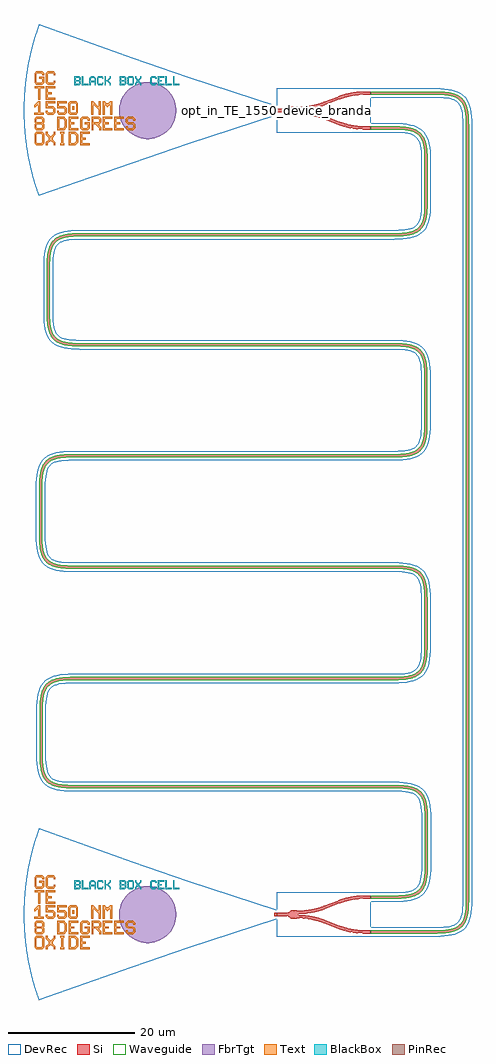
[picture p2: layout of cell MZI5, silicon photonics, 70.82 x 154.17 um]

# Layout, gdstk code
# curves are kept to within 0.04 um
import gdstk
lib = gdstk.Library(unit=1e-6, precision=1e-09)
def R(c, l, rs):  # rectangles x0, y0, x1, y1
    for r in rs: c.add(gdstk.rectangle(r[:2], r[2:], *l))
def P(c, l, *ps):  # polygons
    for p in ps: c.add(gdstk.Polygon(p, *l))
Si = (1, 0)
PinRec = (1, 10)
Waveguide = (1, 99)
Text = (10, 0)
DevRec = (68, 0)
FbrTgt = (81, 0)
BlackBox = (998, 0)

waveguide_3 = lib.new_cell('Waveguide$3')
P(waveguide_3, Si, [(-247.6,60.59),(-247.6,61.09),(-236.87,61.095),(-235.738,61.162),(-234.818,61.319),(-234.204,61.527),(-233.804,61.747),(-233.475,62.017),(-233.204,62.347),(-232.812,63.228),(-232.601,64.455),(-232.548,65.84),(-232.548,188.34),(-232.639,190.069),(-232.893,191.205),(-233.333,192.008),(-233.631,192.306),(-233.995,192.55),(-234.434,192.746),(-235.102,192.925),(-236.092,193.052),(-237.081,193.089),(-247.6,193.09),(-247.6,193.59),(-237.077,193.589),(-235.867,193.535),(-234.849,193.383),(-234.131,193.165),(-233.418,192.773),(-232.947,192.324),(-232.588,191.763),(-232.293,190.944),(-232.143,190.131),(-232.058,188.988),(-232.048,65.84),(-232.103,64.409),(-232.375,62.947),(-232.587,62.418),(-232.865,61.96),(-233.215,61.574),(-233.637,61.26),(-234.13,61.016),(-234.694,60.835),(-235.684,60.664),(-236.86,60.595)])
P(waveguide_3, Waveguide, [(-247.6,60.59),(-247.6,61.09),(-236.87,61.095),(-235.738,61.162),(-234.818,61.319),(-234.204,61.527),(-233.804,61.747),(-233.475,62.017),(-233.204,62.347),(-232.812,63.228),(-232.601,64.455),(-232.548,65.84),(-232.548,188.34),(-232.639,190.069),(-232.893,191.205),(-233.333,192.008),(-233.631,192.306),(-233.995,192.55),(-234.434,192.746),(-235.102,192.925),(-236.092,193.052),(-237.081,193.089),(-247.6,193.09),(-247.6,193.59),(-237.077,193.589),(-235.867,193.535),(-234.849,193.383),(-234.131,193.165),(-233.418,192.773),(-232.947,192.324),(-232.588,191.763),(-232.293,190.944),(-232.143,190.131),(-232.058,188.988),(-232.048,65.84),(-232.103,64.409),(-232.375,62.947),(-232.587,62.418),(-232.865,61.96),(-233.215,61.574),(-233.637,61.26),(-234.13,61.016),(-234.694,60.835),(-235.684,60.664),(-236.86,60.595)])
P(waveguide_3, DevRec, [(-247.6,60.09),(-247.6,61.59),(-236.648,61.601),(-235.553,61.688),(-234.722,61.866),(-234.139,62.126),(-233.922,62.283),(-233.583,62.682),(-233.223,63.647),(-233.09,64.61),(-233.048,65.84),(-233.048,188.34),(-233.146,190.085),(-233.324,190.916),(-233.444,191.236),(-233.741,191.716),(-233.923,191.898),(-234.403,192.195),(-235.554,192.493),(-237.299,192.59),(-247.6,192.59),(-247.6,194.09),(-237.297,194.09),(-235.948,194.044),(-234.789,193.881),(-233.789,193.563),(-232.949,193.038),(-232.601,192.69),(-232.31,192.291),(-231.894,191.368),(-231.66,190.293),(-231.559,189.042),(-231.548,65.84),(-231.594,64.49),(-231.757,63.331),(-231.893,62.813),(-232.309,61.89),(-232.948,61.143),(-233.347,60.852),(-234.27,60.436),(-235.345,60.202),(-236.596,60.101)])
waveguide_3.add(gdstk.FlexPath([(-247.59,193.34),(-247.61,193.34)], 0.5, ends="flush", simple_path=True, layer=1, datatype=10))  # PinRec
waveguide_3.add(gdstk.FlexPath([(-247.59,60.84),(-247.61,60.84)], 0.5, ends="flush", simple_path=True, layer=1, datatype=10))  # PinRec
waveguide_3.add(gdstk.Label('opt1', (-247.6,193.34), layer=1, texttype=10))
waveguide_3.add(gdstk.Label('opt2', (-247.6,60.84), layer=1, texttype=10))
waveguide_3.add(gdstk.Label('Lumerical_INTERCONNECT_library=Design kits/EBeam', (-247.6,193.24), layer=68, texttype=0))
waveguide_3.add(gdstk.Label('Component=ebeam_wg_integral_1550', (-247.6,193.44), layer=68, texttype=0))
waveguide_3.add(gdstk.Label('cellName=Waveguide', (-247.6,193.54), layer=68, texttype=0))
waveguide_3.add(gdstk.Label('Spice_param:wg_length=0.000160001 wg_width=5e-07 points="[[-247.6,193.34],[-232.298,193.34],[-232.298,60.84],[-247.6,60.84]]" radius=5e-06', (-247.6,193.34), layer=68, texttype=0))
waveguide_3.add(gdstk.Label('Length=160.001 (microns)', (-247.6,192.74), layer=68, texttype=0))
waveguide_3.add(gdstk.Label('waveguide_type=Strip TE 1550 nm, w=500 nm', (-247.6,193.14), layer=68, texttype=0))

waveguide_18 = lib.new_cell('Waveguide$18')
P(waveguide_18, Si, [(-167.6,66.09),(-167.6,66.59),(-163.158,66.6),(-162.061,66.681),(-161.31,66.819),(-160.696,67.027),(-160.122,67.375),(-159.759,67.758),(-159.476,68.247),(-159.177,69.296),(-159.049,70.709),(-159.079,79.997),(-159.236,81.132),(-159.477,81.884),(-159.825,82.458),(-160.39,82.943),(-160.926,83.196),(-161.594,83.375),(-163.363,83.536),(-214.63,83.54),(-216.062,83.596),(-217.234,83.785),(-218.174,84.143),(-218.897,84.708),(-219.4,85.493),(-219.735,86.66),(-219.84,87.548),(-219.88,88.79),(-219.878,96.093),(-219.761,97.834),(-219.595,98.621),(-219.34,99.293),(-219.062,99.751),(-218.613,100.222),(-218.052,100.581),(-217.38,100.836),(-216.593,101.002),(-215.679,101.093),(-163.85,101.12),(-162.29,101.192),(-161.108,101.424),(-160.267,101.84),(-159.953,102.124),(-159.697,102.47),(-159.328,103.391),(-159.138,104.664),(-159.139,114.667),(-159.238,115.505),(-159.404,116.202),(-159.641,116.764),(-159.885,117.128),(-160.357,117.554),(-161.109,117.907),(-162.122,118.12),(-163.423,118.206),(-214.71,118.21),(-216.142,118.266),(-217.314,118.455),(-218.254,118.813),(-218.977,119.378),(-219.48,120.163),(-219.815,121.33),(-219.959,123.239),(-219.96,131.06),(-219.904,132.492),(-219.784,133.353),(-219.585,134.093),(-219.29,134.721),(-218.887,135.237),(-218.37,135.641),(-217.742,135.936),(-217.002,136.135),(-215.952,136.27),(-163.86,136.31),(-162.3,136.382),(-161.118,136.614),(-160.366,136.967),(-160.037,137.237),(-159.766,137.567),(-159.374,138.448),(-159.163,139.675),(-159.11,141.06),(-159.12,149.222),(-159.276,150.787),(-159.598,151.791),(-159.83,152.173),(-160.114,152.487),(-160.767,152.904),(-161.816,153.203),(-163.229,153.331),(-213.502,153.34),(-214.934,153.396),(-216.106,153.585),(-217.046,153.943),(-217.769,154.508),(-218.272,155.293),(-218.577,156.298),(-218.697,157.159),(-218.748,158.153),(-218.742,166.608),(-218.657,167.751),(-218.507,168.564),(-218.212,169.383),(-217.853,169.944),(-217.382,170.393),(-216.669,170.785),(-215.951,171.003),(-214.933,171.155),(-213.502,171.21),(-163.83,171.21),(-162.101,171.301),(-161.488,171.406),(-160.848,171.6),(-160.162,171.995),(-159.864,172.293),(-159.62,172.657),(-159.308,173.481),(-159.133,174.575),(-159.081,175.743),(-159.09,183.472),(-159.218,184.885),(-159.517,185.934),(-159.865,186.508),(-160.337,186.934),(-160.966,187.246),(-161.634,187.425),(-163.199,187.581),(-167.6,187.59),(-167.6,188.09),(-163.183,188.081),(-162.04,187.996),(-161.227,187.846),(-160.533,187.61),(-159.95,187.273),(-159.479,186.824),(-159.12,186.263),(-158.865,185.591),(-158.699,184.804),(-158.58,182.84),(-158.581,175.739),(-158.698,173.997),(-158.954,172.928),(-159.32,172.189),(-159.949,171.528),(-160.662,171.136),(-161.226,170.955),(-162.039,170.805),(-163.83,170.71),(-214.708,170.672),(-215.698,170.545),(-216.366,170.366),(-216.995,170.054),(-217.467,169.628),(-217.815,169.054),(-218.023,168.44),(-218.161,167.689),(-218.242,166.592),(-218.251,158.373),(-218.115,156.546),(-217.863,155.609),(-217.468,154.923),(-217.17,154.625),(-216.806,154.381),(-215.982,154.069),(-214.888,153.894),(-213.502,153.84),(-163.213,153.831),(-161.73,153.695),(-160.563,153.36),(-160.089,153.1),(-159.683,152.767),(-159.15,152.013),(-158.786,150.883),(-158.62,149.238),(-158.611,140.839),(-158.683,139.447),(-158.937,138.167),(-159.35,137.289),(-159.979,136.628),(-160.437,136.35),(-160.966,136.138),(-162.246,135.884),(-163.86,135.81),(-215.916,135.772),(-216.754,135.673),(-217.451,135.507),(-218.013,135.27),(-218.456,134.957),(-218.803,134.554),(-219.115,133.925),(-219.294,133.257),(-219.406,132.446),(-219.46,131.06),(-219.459,123.243),(-219.323,121.416),(-219.071,120.479),(-218.676,119.793),(-218.378,119.495),(-218.014,119.251),(-217.19,118.939),(-216.096,118.764),(-214.71,118.71),(-163.203,118.701),(-161.887,118.592),(-160.818,118.336),(-159.97,117.893),(-159.418,117.341),(-159.081,116.758),(-158.885,116.211),(-158.719,115.424),(-158.628,114.51),(-158.6,105.87),(-158.655,104.439),(-158.884,103.12),(-159.08,102.573),(-159.34,102.099),(-159.969,101.438),(-160.427,101.16),(-160.956,100.948),(-162.236,100.694),(-163.85,100.62),(-215.651,100.593),(-216.519,100.508),(-217.242,100.356),(-217.83,100.133),(-218.297,99.836),(-218.66,99.453),(-218.943,98.964),(-219.151,98.35),(-219.267,97.76),(-219.38,95.87),(-219.379,88.573),(-219.268,86.901),(-219.036,85.926),(-218.596,85.123),(-218.298,84.825),(-217.934,84.581),(-217.11,84.269),(-216.016,84.094),(-214.63,84.04),(-163.353,84.036),(-162.177,83.967),(-161.341,83.833),(-160.623,83.615),(-160.13,83.371),(-159.524,82.873),(-159.021,82.088),(-158.748,81.24),(-158.581,80.033),(-158.549,70.693),(-158.685,69.21),(-159.02,68.043),(-159.357,67.46),(-159.909,66.908),(-160.492,66.571),(-161.34,66.298),(-162.176,66.164),(-163.142,66.1)])
P(waveguide_18, Waveguide, [(-167.6,66.09),(-167.6,66.59),(-163.158,66.6),(-162.061,66.681),(-161.31,66.819),(-160.696,67.027),(-160.122,67.375),(-159.759,67.758),(-159.476,68.247),(-159.177,69.296),(-159.049,70.709),(-159.079,79.997),(-159.236,81.132),(-159.477,81.884),(-159.825,82.458),(-160.39,82.943),(-160.926,83.196),(-161.594,83.375),(-163.363,83.536),(-214.63,83.54),(-216.062,83.596),(-217.234,83.785),(-218.174,84.143),(-218.897,84.708),(-219.4,85.493),(-219.735,86.66),(-219.84,87.548),(-219.88,88.79),(-219.878,96.093),(-219.761,97.834),(-219.595,98.621),(-219.34,99.293),(-219.062,99.751),(-218.613,100.222),(-218.052,100.581),(-217.38,100.836),(-216.593,101.002),(-215.679,101.093),(-163.85,101.12),(-162.29,101.192),(-161.108,101.424),(-160.267,101.84),(-159.953,102.124),(-159.697,102.47),(-159.328,103.391),(-159.138,104.664),(-159.139,114.667),(-159.238,115.505),(-159.404,116.202),(-159.641,116.764),(-159.885,117.128),(-160.357,117.554),(-161.109,117.907),(-162.122,118.12),(-163.423,118.206),(-214.71,118.21),(-216.142,118.266),(-217.314,118.455),(-218.254,118.813),(-218.977,119.378),(-219.48,120.163),(-219.815,121.33),(-219.959,123.239),(-219.96,131.06),(-219.904,132.492),(-219.784,133.353),(-219.585,134.093),(-219.29,134.721),(-218.887,135.237),(-218.37,135.641),(-217.742,135.936),(-217.002,136.135),(-215.952,136.27),(-163.86,136.31),(-162.3,136.382),(-161.118,136.614),(-160.366,136.967),(-160.037,137.237),(-159.766,137.567),(-159.374,138.448),(-159.163,139.675),(-159.11,141.06),(-159.12,149.222),(-159.276,150.787),(-159.598,151.791),(-159.83,152.173),(-160.114,152.487),(-160.767,152.904),(-161.816,153.203),(-163.229,153.331),(-213.502,153.34),(-214.934,153.396),(-216.106,153.585),(-217.046,153.943),(-217.769,154.508),(-218.272,155.293),(-218.577,156.298),(-218.697,157.159),(-218.748,158.153),(-218.742,166.608),(-218.657,167.751),(-218.507,168.564),(-218.212,169.383),(-217.853,169.944),(-217.382,170.393),(-216.669,170.785),(-215.951,171.003),(-214.933,171.155),(-213.502,171.21),(-163.83,171.21),(-162.101,171.301),(-161.488,171.406),(-160.848,171.6),(-160.162,171.995),(-159.864,172.293),(-159.62,172.657),(-159.308,173.481),(-159.133,174.575),(-159.081,175.743),(-159.09,183.472),(-159.218,184.885),(-159.517,185.934),(-159.865,186.508),(-160.337,186.934),(-160.966,187.246),(-161.634,187.425),(-163.199,187.581),(-167.6,187.59),(-167.6,188.09),(-163.183,188.081),(-162.04,187.996),(-161.227,187.846),(-160.533,187.61),(-159.95,187.273),(-159.479,186.824),(-159.12,186.263),(-158.865,185.591),(-158.699,184.804),(-158.58,182.84),(-158.581,175.739),(-158.698,173.997),(-158.954,172.928),(-159.32,172.189),(-159.949,171.528),(-160.662,171.136),(-161.226,170.955),(-162.039,170.805),(-163.83,170.71),(-214.708,170.672),(-215.698,170.545),(-216.366,170.366),(-216.995,170.054),(-217.467,169.628),(-217.815,169.054),(-218.023,168.44),(-218.161,167.689),(-218.242,166.592),(-218.251,158.373),(-218.115,156.546),(-217.863,155.609),(-217.468,154.923),(-217.17,154.625),(-216.806,154.381),(-215.982,154.069),(-214.888,153.894),(-213.502,153.84),(-163.213,153.831),(-161.73,153.695),(-160.563,153.36),(-160.089,153.1),(-159.683,152.767),(-159.15,152.013),(-158.786,150.883),(-158.62,149.238),(-158.611,140.839),(-158.683,139.447),(-158.937,138.167),(-159.35,137.289),(-159.979,136.628),(-160.437,136.35),(-160.966,136.138),(-162.246,135.884),(-163.86,135.81),(-215.916,135.772),(-216.754,135.673),(-217.451,135.507),(-218.013,135.27),(-218.456,134.957),(-218.803,134.554),(-219.115,133.925),(-219.294,133.257),(-219.406,132.446),(-219.46,131.06),(-219.459,123.243),(-219.323,121.416),(-219.071,120.479),(-218.676,119.793),(-218.378,119.495),(-218.014,119.251),(-217.19,118.939),(-216.096,118.764),(-214.71,118.71),(-163.203,118.701),(-161.887,118.592),(-160.818,118.336),(-159.97,117.893),(-159.418,117.341),(-159.081,116.758),(-158.885,116.211),(-158.719,115.424),(-158.628,114.51),(-158.6,105.87),(-158.655,104.439),(-158.884,103.12),(-159.08,102.573),(-159.34,102.099),(-159.969,101.438),(-160.427,101.16),(-160.956,100.948),(-162.236,100.694),(-163.85,100.62),(-215.651,100.593),(-216.519,100.508),(-217.242,100.356),(-217.83,100.133),(-218.297,99.836),(-218.66,99.453),(-218.943,98.964),(-219.151,98.35),(-219.267,97.76),(-219.38,95.87),(-219.379,88.573),(-219.268,86.901),(-219.036,85.926),(-218.596,85.123),(-218.298,84.825),(-217.934,84.581),(-217.11,84.269),(-216.016,84.094),(-214.63,84.04),(-163.353,84.036),(-162.177,83.967),(-161.341,83.833),(-160.623,83.615),(-160.13,83.371),(-159.524,82.873),(-159.021,82.088),(-158.748,81.24),(-158.581,80.033),(-158.549,70.693),(-158.685,69.21),(-159.02,68.043),(-159.357,67.46),(-159.909,66.908),(-160.492,66.571),(-161.34,66.298),(-162.176,66.164),(-163.142,66.1)])
P(waveguide_18, DevRec, [(-167.6,65.59),(-167.6,67.09),(-163.14,67.101),(-161.596,67.266),(-160.631,67.626),(-160.232,67.965),(-159.935,68.445),(-159.637,69.596),(-159.55,70.691),(-159.551,79.44),(-159.638,80.535),(-159.816,81.366),(-160.076,81.949),(-160.233,82.166),(-160.632,82.505),(-161.215,82.765),(-162.046,82.943),(-163.79,83.04),(-214.63,83.04),(-215.981,83.087),(-217.14,83.25),(-218.14,83.568),(-218.98,84.093),(-219.619,84.84),(-219.853,85.281),(-220.171,86.281),(-220.334,87.44),(-220.38,88.789),(-220.38,95.871),(-220.268,97.823),(-220.034,98.898),(-219.852,99.38),(-219.327,100.22),(-218.979,100.568),(-218.58,100.859),(-217.657,101.275),(-217.139,101.411),(-215.98,101.574),(-214.63,101.62),(-163.85,101.62),(-162.105,101.718),(-161.274,101.896),(-160.691,102.156),(-160.474,102.313),(-160.135,102.712),(-159.775,103.677),(-159.642,104.64),(-159.611,114.11),(-159.776,115.654),(-159.996,116.356),(-160.293,116.836),(-160.692,117.175),(-161.275,117.435),(-162.106,117.613),(-163.201,117.7),(-214.71,117.71),(-216.061,117.757),(-217.22,117.92),(-218.22,118.238),(-219.06,118.763),(-219.699,119.51),(-219.933,119.951),(-220.251,120.951),(-220.414,122.11),(-220.46,123.459),(-220.413,132.411),(-220.25,133.57),(-220.114,134.088),(-219.698,135.011),(-219.407,135.41),(-219.059,135.758),(-218.219,136.283),(-217.219,136.601),(-216.06,136.764),(-214.71,136.81),(-163.86,136.81),(-162.115,136.908),(-161.284,137.086),(-160.701,137.346),(-160.484,137.503),(-160.145,137.902),(-159.785,138.867),(-159.652,139.83),(-159.621,149.24),(-159.708,150.335),(-160.006,151.486),(-160.303,151.966),(-160.485,152.148),(-160.965,152.445),(-162.116,152.743),(-163.211,152.83),(-213.502,152.84),(-214.853,152.887),(-216.012,153.05),(-217.012,153.368),(-217.852,153.893),(-218.491,154.64),(-218.725,155.081),(-219.043,156.081),(-219.242,157.889),(-219.241,166.662),(-219.14,167.913),(-218.906,168.988),(-218.49,169.911),(-218.199,170.31),(-217.851,170.658),(-217.011,171.183),(-216.011,171.501),(-214.852,171.664),(-213.502,171.71),(-163.83,171.71),(-162.085,171.808),(-160.934,172.106),(-160.454,172.403),(-160.272,172.585),(-159.975,173.065),(-159.755,173.767),(-159.622,174.73),(-159.591,183.49),(-159.678,184.585),(-159.976,185.736),(-160.273,186.216),(-160.672,186.555),(-161.637,186.915),(-163.181,187.08),(-167.6,187.09),(-167.6,188.59),(-163.129,188.58),(-161.878,188.479),(-160.803,188.245),(-159.88,187.829),(-159.481,187.538),(-159.133,187.19),(-158.608,186.35),(-158.426,185.868),(-158.192,184.793),(-158.08,182.841),(-158.08,175.959),(-158.191,174.008),(-158.425,172.933),(-158.841,172.01),(-159.48,171.263),(-160.32,170.738),(-160.802,170.556),(-161.877,170.322),(-163.83,170.21),(-213.502,170.21),(-214.732,170.168),(-216.077,169.935),(-216.66,169.675),(-217.059,169.336),(-217.356,168.856),(-217.576,168.154),(-217.741,166.61),(-217.752,158.591),(-217.655,156.846),(-217.477,156.015),(-217.357,155.695),(-217.06,155.215),(-216.878,155.033),(-216.398,154.736),(-215.696,154.516),(-214.733,154.383),(-213.502,154.34),(-163.159,154.33),(-161.351,154.131),(-160.351,153.813),(-159.511,153.288),(-159.163,152.94),(-158.638,152.1),(-158.32,151.1),(-158.121,149.292),(-158.11,141.059),(-158.221,139.108),(-158.455,138.033),(-158.637,137.551),(-159.162,136.711),(-159.909,136.072),(-160.832,135.656),(-161.907,135.422),(-163.86,135.31),(-214.71,135.31),(-215.94,135.268),(-217.285,135.035),(-217.605,134.915),(-218.085,134.618),(-218.424,134.219),(-218.684,133.636),(-218.917,132.291),(-218.96,123.461),(-218.863,121.716),(-218.685,120.885),(-218.565,120.565),(-218.268,120.085),(-218.086,119.903),(-217.606,119.606),(-216.904,119.386),(-215.941,119.253),(-214.71,119.21),(-163.149,119.2),(-161.898,119.099),(-160.823,118.865),(-159.9,118.449),(-159.153,117.81),(-158.862,117.411),(-158.446,116.488),(-158.31,115.97),(-158.147,114.811),(-158.1,113.461),(-158.146,104.52),(-158.309,103.361),(-158.445,102.843),(-158.861,101.92),(-159.5,101.173),(-159.899,100.882),(-160.822,100.466),(-161.897,100.232),(-163.85,100.12),(-215.279,100.11),(-216.823,99.945),(-217.788,99.585),(-218.187,99.246),(-218.484,98.766),(-218.782,97.615),(-218.88,95.869),(-218.88,88.791),(-218.783,87.046),(-218.605,86.215),(-218.485,85.895),(-218.188,85.415),(-218.006,85.233),(-217.526,84.936),(-216.824,84.716),(-215.861,84.583),(-214.63,84.54),(-163.089,84.53),(-161.281,84.331),(-160.281,84.013),(-159.84,83.779),(-159.093,83.14),(-158.568,82.3),(-158.25,81.3),(-158.087,80.141),(-158.04,78.791),(-158.05,70.639),(-158.249,68.831),(-158.567,67.831),(-159.092,66.991),(-159.44,66.643),(-160.28,66.118),(-161.28,65.8),(-163.088,65.601)])
waveguide_18.add(gdstk.FlexPath([(-167.59,187.84),(-167.61,187.84)], 0.5, ends="flush", simple_path=True, layer=1, datatype=10))  # PinRec
waveguide_18.add(gdstk.FlexPath([(-167.59,66.34),(-167.61,66.34)], 0.5, ends="flush", simple_path=True, layer=1, datatype=10))  # PinRec
waveguide_18.add(gdstk.Label('opt1', (-167.6,187.84), layer=1, texttype=10))
waveguide_18.add(gdstk.Label('opt2', (-167.6,66.34), layer=1, texttype=10))
waveguide_18.add(gdstk.Label('Lumerical_INTERCONNECT_library=Design kits/EBeam', (-167.6,187.74), layer=68, texttype=0))
waveguide_18.add(gdstk.Label('Component=ebeam_wg_integral_1550', (-167.6,187.94), layer=68, texttype=0))
waveguide_18.add(gdstk.Label('cellName=Waveguide', (-167.6,188.04), layer=68, texttype=0))
waveguide_18.add(gdstk.Label('Length=480.001 (microns)', (-167.6,187.24), layer=68, texttype=0))
waveguide_18.add(gdstk.Label('waveguide_type=Strip TE 1550 nm, w=500 nm', (-167.6,187.64), layer=68, texttype=0))

ebeam_y_1550 = lib.new_cell('ebeam_y_1550')
R(ebeam_y_1550, Si, [(6.5,-3,7.4,-2.5), (-7.4,-0.25,-6,0.25), (6.5,2.5,7.4,3)])
P(ebeam_y_1550, Si, [(6.458,-3),(6.237,-2.997),(6.237,-2.497),(6.5,-2.5),(6.5,-3)],
  [(5.033,-2.908),(3.59,-2.634),(2.265,-2.21),(2.445,-1.744),(3.731,-2.154),(5.033,-2.404)],
  [(6.233,-2.997),(5.033,-2.908),(5.033,-2.404),(6.237,-2.497)],
  [(2.265,-2.21),(0.055,-1.356),(0.235,-0.89),(2.445,-1.744)],
  [(-0.762,-1.076),(-2.334,-0.724),(-4,-0.6),(-4,-0.1),(-2.381,-0.212),(-0.762,-0.555)],
  [(0.055,-1.356),(-0.762,-1.076),(-0.762,-0.555),(0.235,-0.89)],
  [(6.237,2.497),(6.237,2.997),(6.5,3),(6.5,2.5)],
  [(2.445,1.744),(2.267,2.211),(3.59,2.634),(5.033,2.908),(5.033,2.404),(3.731,2.154)],
  [(5.033,2.404),(5.033,2.908),(6.237,2.997),(6.237,2.497)],
  [(0.235,0.89),(0.055,1.356),(2.265,2.21),(2.445,1.744)],
  [(-4,0.1),(-4,0.6),(-2.334,0.724),(-0.762,1.076),(-0.762,0.555),(-2.381,0.212)],
  [(-0.762,0.555),(-0.762,1.076),(0.055,1.356),(0.235,0.89)],
  [(-5.122,-0.662),(-5.442,-0.374),(-5.808,-0.255),(-6,-0.25),(-6,0.25),(-5.817,0.253),(-5.442,0.374),(-5.122,0.662)],
  [(-4.957,-0.703),(-5.122,-0.662),(-5.122,0.662),(-4.538,0.703),(-4,0.6),(-4,-0.6),(-4.509,-0.701)])
R(ebeam_y_1550, DevRec, [(-7.4,-3.5,7.4,3.5)])
ebeam_y_1550.add(gdstk.FlexPath([(-7.35,0),(-7.45,0)], 0.5, ends="flush", simple_path=True, layer=1, datatype=10))  # PinRec
ebeam_y_1550.add(gdstk.FlexPath([(7.35,2.75),(7.45,2.75)], 0.5, ends="flush", simple_path=True, layer=1, datatype=10))  # PinRec
ebeam_y_1550.add(gdstk.FlexPath([(7.35,-2.75),(7.45,-2.75)], 0.5, ends="flush", simple_path=True, layer=1, datatype=10))  # PinRec
ebeam_y_1550.add(gdstk.Label('opt2', (7.4,2.75), layer=1, texttype=10))
ebeam_y_1550.add(gdstk.Label('opt3', (7.4,-2.75), layer=1, texttype=10))
ebeam_y_1550.add(gdstk.Label('opt1', (-7.4,0), layer=1, texttype=10))
ebeam_y_1550.add(gdstk.Label('Component=ebeam_y_1550', (-6,1.5), layer=68, texttype=0))
ebeam_y_1550.add(gdstk.Label('Lumerical_INTERCONNECT_library=Design kits/ebeam', (-6.86,-2.19), layer=68, texttype=0))
ebeam_y_1550.add(gdstk.Label('Ref: Y Zhang, Opt. Express, 21/1, 2013', (-7.5,-1), layer=10, texttype=0))

text = lib.new_cell('TEXT')
P(text, BlackBox, [(0,0),(0,1.4),(0.8,1.4),(1,1.2),(0.2,1.2),(0.2,0.8),(0.7,0.8),(0.8,0.9),(0.8,1.1),(0.7,1.2),(1,1.2),(1,0.8),(0.9,0.7),(1,0.6),(0.2,0.6),(0.2,0.2),(0.7,0.2),(0.8,0.3),(0.8,0.5),(0.7,0.6),(1,0.6),(1,0.2),(0.8,0)],
  [(1.2,0),(1.2,1.4),(1.4,1.4),(1.4,0.2),(2.2,0.2),(2.2,0)],
  [(2.4,0),(2.4,1.1),(2.7,1.4),(3.1,1.4),(3.3,1.2),(2.8,1.2),(2.6,1),(2.6,0.7),(3.2,0.7),(3.2,1),(3,1.2),(3.3,1.2),(3.4,1.1),(3.4,0),(3.2,0),(3.2,0.5),(2.6,0.5),(2.6,0)],
  [(3.8,0),(3.6,0.2),(3.6,1.2),(3.8,1.4),(4.4,1.4),(4.6,1.2),(4.6,1),(4.4,1),(4.4,1.1),(4.3,1.2),(3.9,1.2),(3.8,1.1),(3.8,0.3),(3.9,0.2),(4.3,0.2),(4.4,0.3),(4.4,0.4),(4.6,0.4),(4.6,0.2),(4.4,0)],
  [(4.8,0),(4.8,1.4),(5,1.4),(5,0.8),(5.2,0.8),(5.6,1.2),(5.6,1.4),(5.8,1.4),(5.8,1.1),(5.4,0.7),(5.8,0.3),(5.8,0),(5.6,0),(5.6,0.2),(5.2,0.6),(5,0.6),(5,0)],
  [(7.2,0),(7.2,1.4),(8,1.4),(8.2,1.2),(7.4,1.2),(7.4,0.8),(7.9,0.8),(8,0.9),(8,1.1),(7.9,1.2),(8.2,1.2),(8.2,0.8),(8.1,0.7),(8.2,0.6),(7.4,0.6),(7.4,0.2),(7.9,0.2),(8,0.3),(8,0.5),(7.9,0.6),(8.2,0.6),(8.2,0.2),(8,0)],
  [(8.6,0),(8.4,0.2),(8.4,1.2),(8.6,1.4),(9.2,1.4),(9.4,1.2),(9.4,0.7),(9.2,0.7),(9.2,1.1),(9.1,1.2),(8.7,1.2),(8.6,1.1),(8.6,0.3),(8.7,0.2),(9.1,0.2),(9.2,0.3),(9.2,0.7),(9.4,0.7),(9.4,0.2),(9.2,0)],
  [(9.6,0),(9.6,0.3),(9.9,0.6),(9.9,0.8),(9.6,1.1),(9.6,1.4),(9.8,1.4),(9.8,1.2),(10.1,0.9),(10.4,1.2),(10.4,1.4),(10.6,1.4),(10.6,1.1),(10.3,0.8),(10.3,0.6),(10.6,0.3),(10.6,0),(10.4,0),(10.4,0.2),(10.1,0.5),(9.8,0.2),(9.8,0)],
  [(12.2,0),(12,0.2),(12,1.2),(12.2,1.4),(12.8,1.4),(13,1.2),(13,1),(12.8,1),(12.8,1.1),(12.7,1.2),(12.3,1.2),(12.2,1.1),(12.2,0.3),(12.3,0.2),(12.7,0.2),(12.8,0.3),(12.8,0.4),(13,0.4),(13,0.2),(12.8,0)],
  [(13.2,0),(13.2,1.4),(14.2,1.4),(14.2,1.2),(13.4,1.2),(13.4,0.8),(13.8,0.8),(13.8,0.6),(13.4,0.6),(13.4,0.2),(14.2,0.2),(14.2,0)],
  [(14.4,0),(14.4,1.4),(14.6,1.4),(14.6,0.2),(15.4,0.2),(15.4,0)],
  [(15.6,0),(15.6,1.4),(15.8,1.4),(15.8,0.2),(16.6,0.2),(16.6,0)])

gc_te_1550_8degoxide_bb = lib.new_cell('GC_TE_1550_8degOxide_BB')
R(gc_te_1550_8degoxide_bb, Si, [(-0.4,-0.25,0,0.25)])
R(gc_te_1550_8degoxide_bb, Text, [(-32.313,0.092,-32.013,0.692)])
P(gc_te_1550_8degoxide_bb, Text, [(-37.67,1.71),(-37.67,3.51),(-38.27,3.51),(-38.27,3.81),(-36.77,3.81),(-36.77,3.51),(-37.37,3.51),(-37.37,1.71)],
  [(-37.97,-5.49),(-38.27,-5.19),(-38.27,-3.69),(-37.97,-3.39),(-37.07,-3.39),(-36.77,-3.69),(-36.77,-4.44),(-37.07,-4.44),(-37.07,-3.84),(-37.22,-3.69),(-37.82,-3.69),(-37.97,-3.84),(-37.97,-5.04),(-37.82,-5.19),(-37.22,-5.19),(-37.07,-5.04),(-37.07,-4.44),(-36.77,-4.44),(-36.77,-5.19),(-37.07,-5.49)],
  [(-31.07,-5.49),(-31.07,-3.39),(-29.57,-3.39),(-29.57,-3.69),(-30.77,-3.69),(-30.77,-4.29),(-30.17,-4.29),(-30.17,-4.59),(-30.77,-4.59),(-30.77,-5.19),(-29.57,-5.19),(-29.57,-5.49)],
  [(-32.87,-3.09),(-32.87,-0.99),(-31.37,-0.99),(-31.37,-1.29),(-32.57,-1.29),(-32.57,-1.89),(-31.97,-1.89),(-31.97,-2.19),(-32.57,-2.19),(-32.57,-2.79),(-31.37,-2.79),(-31.37,-3.09)],
  [(-27.47,-3.09),(-27.47,-0.99),(-25.97,-0.99),(-25.97,-1.29),(-27.17,-1.29),(-27.17,-1.89),(-26.57,-1.89),(-26.57,-2.19),(-27.17,-2.19),(-27.17,-2.79),(-25.97,-2.79),(-25.97,-3.09)],
  [(-25.67,-3.09),(-25.67,-0.99),(-24.17,-0.99),(-24.17,-1.29),(-25.37,-1.29),(-25.37,-1.89),(-24.77,-1.89),(-24.77,-2.19),(-25.37,-2.19),(-25.37,-2.79),(-24.17,-2.79),(-24.17,-3.09)],
  [(-36.47,1.71),(-36.47,3.81),(-34.97,3.81),(-34.97,3.51),(-36.17,3.51),(-36.17,2.91),(-35.57,2.91),(-35.57,2.61),(-36.17,2.61),(-36.17,2.01),(-34.97,2.01),(-34.97,1.71)],
  [(-29.313,-0.658),(-29.313,1.442),(-29.013,1.442),(-28.263,0.692),(-28.113,0.692),(-28.113,1.442),(-27.813,1.442),(-27.813,-0.658),(-28.113,-0.658),(-28.113,0.092),(-28.863,0.842),(-29.013,0.842),(-29.013,-0.658)],
  [(-34.22,-5.49),(-34.22,-5.19),(-34.07,-5.19),(-34.07,-3.69),(-34.22,-3.69),(-34.22,-3.39),(-33.62,-3.39),(-33.62,-3.69),(-33.77,-3.69),(-33.77,-5.19),(-33.62,-5.19),(-33.62,-5.49)],
  [(-36.17,4.11),(-36.47,4.41),(-36.47,5.91),(-36.17,6.21),(-35.27,6.21),(-34.97,5.91),(-34.97,5.61),(-35.27,5.61),(-35.27,5.76),(-35.42,5.91),(-36.02,5.91),(-36.17,5.76),(-36.17,4.56),(-36.02,4.41),(-35.42,4.41),(-35.27,4.56),(-35.27,4.71),(-34.97,4.71),(-34.97,4.41),(-35.27,4.11)],
  [(-27.513,-0.658),(-27.513,1.442),(-27.213,1.442),(-26.913,1.142),(-26.613,1.142),(-26.313,1.442),(-26.013,1.442),(-26.013,-0.658),(-26.313,-0.658),(-26.313,0.842),(-26.463,0.842),(-26.763,0.542),(-27.063,0.842),(-27.213,0.842),(-27.213,-0.658)],
  [(-32.613,-0.658),(-32.913,-0.358),(-32.913,1.142),(-32.613,1.442),(-31.713,1.442),(-31.413,1.142),(-32.463,1.142),(-32.613,0.992),(-32.613,-0.208),(-32.463,-0.358),(-31.863,-0.358),(-31.713,-0.208),(-31.713,0.992),(-31.863,1.142),(-31.413,1.142),(-31.413,-0.358),(-31.713,-0.658)],
  [(-32.87,-5.49),(-32.87,-3.39),(-31.82,-3.39),(-31.52,-3.69),(-32.57,-3.69),(-32.57,-5.19),(-31.97,-5.19),(-31.67,-4.89),(-31.67,-3.99),(-31.97,-3.69),(-31.52,-3.69),(-31.37,-3.84),(-31.37,-5.04),(-31.82,-5.49)],
  [(-34.67,-3.09),(-34.67,-0.99),(-33.62,-0.99),(-33.32,-1.29),(-34.37,-1.29),(-34.37,-2.79),(-33.77,-2.79),(-33.47,-2.49),(-33.47,-1.59),(-33.77,-1.29),(-33.32,-1.29),(-33.17,-1.44),(-33.17,-2.64),(-33.62,-3.09)],
  [(-23.57,-3.09),(-23.87,-2.79),(-23.87,-2.49),(-23.57,-2.49),(-23.57,-2.64),(-23.42,-2.79),(-22.82,-2.79),(-22.67,-2.64),(-22.67,-2.34),(-22.82,-2.19),(-23.57,-2.19),(-23.87,-1.89),(-23.87,-1.29),(-23.57,-0.99),(-22.67,-0.99),(-22.37,-1.29),(-22.37,-1.59),(-22.67,-1.59),(-22.67,-1.44),(-22.82,-1.29),(-23.42,-1.29),(-23.57,-1.44),(-23.57,-1.74),(-23.42,-1.89),(-22.67,-1.89),(-22.37,-2.19),(-22.37,-2.79),(-22.67,-3.09)],
  [(-36.213,-0.658),(-36.513,-0.358),(-36.513,-0.058),(-36.213,-0.058),(-36.213,-0.208),(-36.063,-0.358),(-35.463,-0.358),(-35.313,-0.208),(-35.313,0.242),(-35.463,0.392),(-36.513,0.392),(-36.513,1.442),(-35.013,1.442),(-35.013,1.142),(-36.213,1.142),(-36.213,0.692),(-35.313,0.692),(-35.013,0.392),(-35.013,-0.358),(-35.313,-0.658)],
  [(-34.413,-0.658),(-34.713,-0.358),(-34.713,-0.058),(-34.413,-0.058),(-34.413,-0.208),(-34.263,-0.358),(-33.663,-0.358),(-33.513,-0.208),(-33.513,0.242),(-33.663,0.392),(-34.713,0.392),(-34.713,1.442),(-33.213,1.442),(-33.213,1.142),(-34.413,1.142),(-34.413,0.692),(-33.513,0.692),(-33.213,0.392),(-33.213,-0.358),(-33.513,-0.658)],
  [(-37.97,-3.09),(-38.27,-2.79),(-38.27,-2.19),(-38.12,-2.04),(-38.27,-1.89),(-38.27,-1.29),(-37.97,-0.99),(-37.07,-0.99),(-36.77,-1.29),(-37.82,-1.29),(-37.97,-1.44),(-37.97,-1.74),(-37.82,-1.89),(-37.22,-1.89),(-37.07,-1.74),(-37.07,-1.44),(-37.22,-1.29),(-36.77,-1.29),(-36.77,-1.89),(-36.92,-2.04),(-36.77,-2.19),(-37.82,-2.19),(-37.97,-2.34),(-37.97,-2.64),(-37.82,-2.79),(-37.22,-2.79),(-37.07,-2.64),(-37.07,-2.34),(-37.22,-2.19),(-36.77,-2.19),(-36.77,-2.79),(-37.07,-3.09)],
  [(-38.313,-0.658),(-38.313,-0.358),(-37.713,-0.358),(-37.713,0.842),(-37.863,0.842),(-38.163,0.542),(-38.313,0.542),(-38.313,0.842),(-37.713,1.442),(-37.413,1.442),(-37.413,-0.358),(-36.813,-0.358),(-36.813,-0.658)],
  [(-36.47,-5.49),(-36.47,-5.04),(-36.02,-4.59),(-36.02,-4.29),(-36.47,-3.84),(-36.47,-3.39),(-36.17,-3.39),(-36.17,-3.69),(-35.72,-4.14),(-35.27,-3.69),(-35.27,-3.39),(-34.97,-3.39),(-34.97,-3.84),(-35.42,-4.29),(-35.42,-4.59),(-34.97,-5.04),(-34.97,-5.49),(-35.27,-5.49),(-35.27,-5.19),(-35.72,-4.74),(-36.17,-5.19),(-36.17,-5.49)],
  [(-30.77,-3.09),(-31.07,-2.79),(-31.07,-1.29),(-30.77,-0.99),(-29.87,-0.99),(-29.57,-1.29),(-29.57,-1.59),(-29.87,-1.59),(-29.87,-1.44),(-30.02,-1.29),(-30.62,-1.29),(-30.77,-1.44),(-30.77,-2.64),(-30.62,-2.79),(-30.02,-2.79),(-29.87,-2.64),(-29.87,-2.19),(-30.32,-2.19),(-30.32,-1.89),(-29.57,-1.89),(-29.57,-2.79),(-29.87,-3.09)],
  [(-37.97,4.11),(-38.27,4.41),(-38.27,5.91),(-37.97,6.21),(-37.07,6.21),(-36.77,5.91),(-36.77,5.61),(-37.07,5.61),(-37.07,5.76),(-37.22,5.91),(-37.82,5.91),(-37.97,5.76),(-37.97,4.56),(-37.82,4.41),(-37.22,4.41),(-37.07,4.56),(-37.07,5.01),(-37.52,5.01),(-37.52,5.31),(-36.77,5.31),(-36.77,4.41),(-37.07,4.11)],
  [(-29.27,-3.09),(-29.27,-0.99),(-28.07,-0.99),(-27.77,-1.29),(-28.97,-1.29),(-28.97,-1.89),(-28.22,-1.89),(-28.07,-1.74),(-28.07,-1.44),(-28.22,-1.29),(-27.77,-1.29),(-27.77,-1.89),(-28.07,-2.19),(-28.07,-2.34),(-27.77,-2.64),(-27.77,-3.09),(-28.07,-3.09),(-28.07,-2.79),(-28.67,-2.19),(-28.97,-2.19),(-28.97,-3.09)])
P(gc_te_1550_8degoxide_bb, DevRec, [(-37.607,-13.5),(-38.627,-10.245),(-39.378,-6.832),(-39.647,-5.058),(-39.835,-3.274),(-39.969,0.224),(-39.812,3.541),(-39.331,7.097),(-38.557,10.505),(-37.546,13.669),(-22.8,8.353),(-14.109,5.36),(0,0.75),(0,-0.75),(-14.109,-5.36)])
P(gc_te_1550_8degoxide_bb, FbrTgt, [(-20.621,-4.5),(-21.495,-4.37),(-22.326,-4.073),(-23.084,-3.619),(-23.738,-3.026),(-24.264,-2.316),(-24.642,-1.518),(-24.857,-0.661),(-24.9,0.221),(-24.77,1.095),(-24.473,1.926),(-24.019,2.684),(-23.426,3.338),(-22.716,3.864),(-21.918,4.242),(-21.061,4.457),(-20.179,4.5),(-19.305,4.37),(-18.474,4.073),(-17.716,3.619),(-17.062,3.026),(-16.536,2.316),(-16.158,1.518),(-15.943,0.661),(-15.9,-0.221),(-16.03,-1.095),(-16.327,-1.926),(-16.781,-2.684),(-17.374,-3.338),(-18.084,-3.864),(-18.882,-4.242),(-19.739,-4.457)])
gc_te_1550_8degoxide_bb.add(gdstk.FlexPath([(-0.01,0),(0.01,0)], 0.5, ends="flush", simple_path=True, layer=1, datatype=10))  # PinRec
gc_te_1550_8degoxide_bb.add(gdstk.Reference(text, (-32,4)))
gc_te_1550_8degoxide_bb.add(gdstk.Label('opt1', (0,0), layer=1, texttype=10))
gc_te_1550_8degoxide_bb.add(gdstk.Label('Lumerical_INTERCONNECT_library=Design kits/ebeam', (-29,-7), layer=68, texttype=0))
gc_te_1550_8degoxide_bb.add(gdstk.Label('Component=GC_TE_1550_8degOxide_BB', (-28,-5), layer=68, texttype=0))

mzi5 = lib.new_cell('MZI5')
mzi5.add(gdstk.Reference(waveguide_3, (302.369,-50.09)))
mzi5.add(gdstk.Reference(waveguide_18, (222.369,-50.09)))
mzi5.add(gdstk.Reference(ebeam_y_1550, (47.369,140.5)))
mzi5.add(gdstk.Reference(ebeam_y_1550, (47.369,13.5)))
mzi5.add(gdstk.Reference(gc_te_1550_8degoxide_bb, (39.969,140.5)))
mzi5.add(gdstk.Reference(gc_te_1550_8degoxide_bb, (39.969,13.5)))
mzi5.add(gdstk.Label('opt_in_TE_1550_device_brandaofg_MZI5', (39.969,140.5), layer=10, texttype=0))

lib.write_gds('MZI5.gds')
